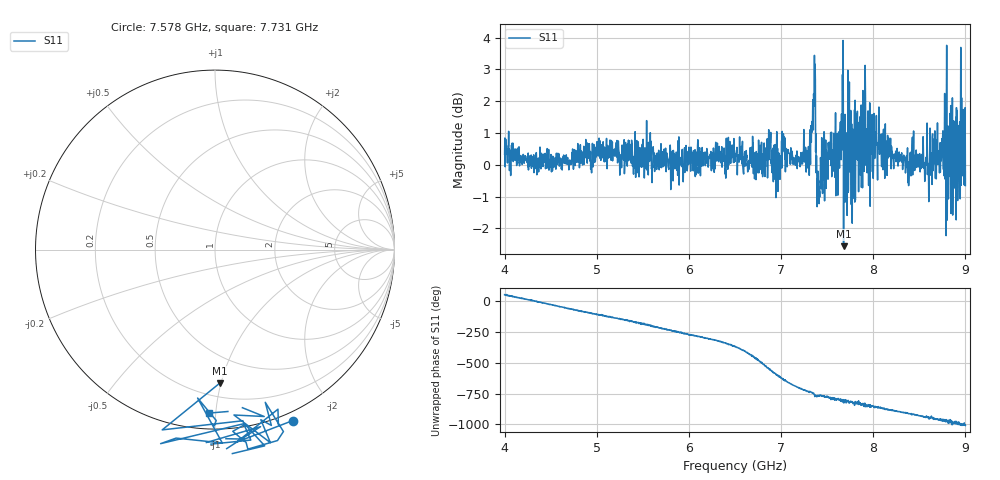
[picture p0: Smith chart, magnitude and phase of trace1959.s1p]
! Created with skrf 1.8.0 (http://scikit-rf.org).
# Hz S RI R 50.0
!freq ReS11 ImS11
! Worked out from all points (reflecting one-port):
!   1601 points, 4 GHz to 9 GHz, reference 50 ohm
!   lowest |S11| = -2.6 dB at 7.678 GHz (marker M1), VSWR 6.83, Z = 14.8 - j49.5 ohm
!   phase of S11 starts at 51 deg and turns -1059 deg over the sweep
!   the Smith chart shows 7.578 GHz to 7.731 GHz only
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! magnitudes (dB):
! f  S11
! 4 GHz  0.3
! 4.625 GHz  -0.2
! 5.25 GHz  -0.3
! 5.875 GHz  0.3
! 6.5 GHz  0.3
! 7.125 GHz  0.3
! 7.294 GHz  -0.1
! 7.347 GHz  1.6
! 7.369 GHz  3.2
! 7.412 GHz  -1.2
! 7.516 GHz  0.5
! 7.609 GHz  -0.2
! 7.65 GHz  0.2
! 7.678 GHz  -2.6
! 7.703 GHz  -0.1
! 7.75 GHz  0.6
! 7.784 GHz  -0.2
! 7.834 GHz  0.6
! 7.928 GHz  0.7
! 7.944 GHz  1.7
! 8.047 GHz  -0.5
! 8.375 GHz  -0.1
! 8.612 GHz  0.4
! 8.775 GHz  2.2
! 8.919 GHz  -0.5
! 8.953 GHz  -0.6
! 8.972 GHz  0.7
! 9 GHz  -0.7
